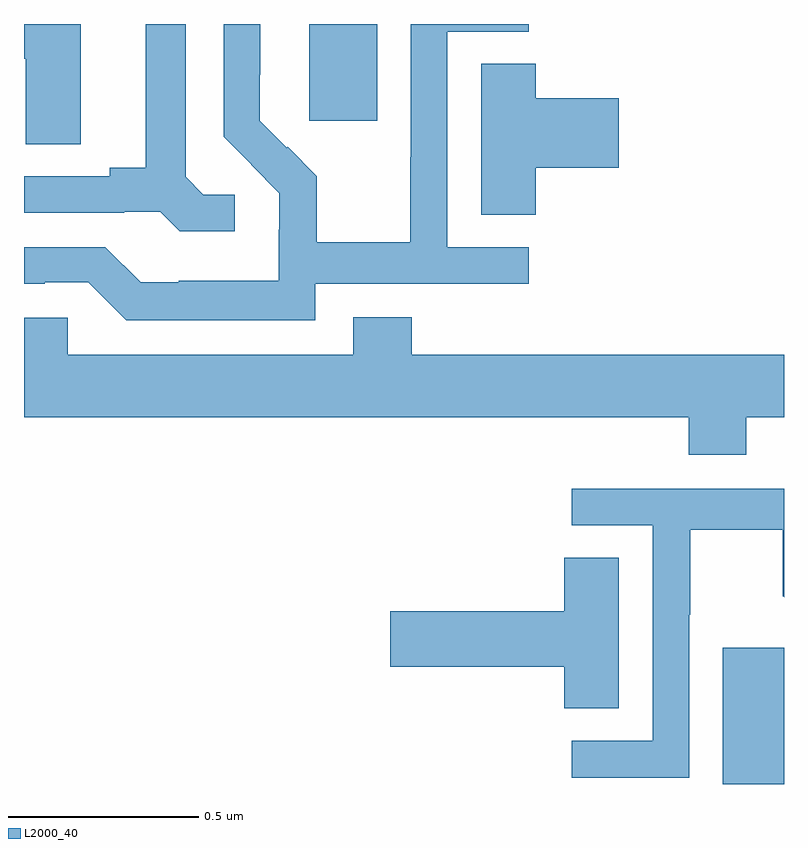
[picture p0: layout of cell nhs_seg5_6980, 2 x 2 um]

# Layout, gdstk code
import gdstk
lib = gdstk.Library(unit=1e-6, precision=1e-09)
def R(c, l, rs):  # rectangles x0, y0, x1, y1
    for r in rs: c.add(gdstk.rectangle(r[:2], r[2:], *l))
def P(c, l, *ps):  # polygons
    for p in ps: c.add(gdstk.Polygon(p, *l))
L2000_40 = (2000, 40)

nhs_seg5_6980 = lib.new_cell('nhs_seg5_6980')
R(nhs_seg5_6980, L2000_40, [(204.839,851.799,205,852.157), (203.75,853.545,203.929,853.799)])
P(nhs_seg5_6980, L2000_40, [(203.554,853.35),(203.472,853.35),(203.425,853.397),(203.425,853.799),(203.321,853.799),(203.321,853.421),(203.225,853.421),(203.225,853.398),(203,853.398),(203,853.302),(203.264,853.302),(203.264,853.305),(203.358,853.305),(203.41,853.253),(203.554,853.253)],
  [(203.766,853.116),(204.328,853.116),(204.328,853.212),(204.114,853.212),(204.114,853.779),(204.328,853.779),(204.328,853.799),(204.018,853.799),(204.018,853.448),(204.016,853.448),(204.016,853.225),(203.771,853.225),(203.771,853.399),(203.694,853.476),(203.691,853.473),(203.621,853.544),(203.621,853.666),(203.622,853.666),(203.622,853.799),(203.526,853.799),(203.526,853.502),(203.599,853.429),(203.598,853.428),(203.672,853.354),(203.672,853.257),(203.67,853.257),(203.67,853.123),(203.407,853.123),(203.407,853.119),(203.307,853.119),(203.214,853.212),(203,853.212),(203,853.116),(203.054,853.116),(203.054,853.119),(203.169,853.119),(203.269,853.019),(203.766,853.019)],
  [(203.149,853.799),(203,853.799),(203,853.707),(203.004,853.707),(203.004,853.483),(203.149,853.483)],
  [(204.347,853.421),(204.565,853.421),(204.565,853.604),(204.347,853.604),(204.347,853.694),(204.203,853.694),(204.203,853.297),(204.347,853.297)],
  [(204.901,852.764),(205,852.764),(205,852.928),(204.02,852.928),(204.02,853.027),(203.867,853.027),(203.867,852.928),(203.115,852.928),(203.115,853.026),(203,853.026),(203,852.764),(204.749,852.764),(204.749,852.665),(204.901,852.665)],
  [(204.75,852.244),(204.753,852.244),(204.753,852.468),(204.997,852.468),(204.997,852.293),(205,852.29),(205,852.576),(204.441,852.576),(204.441,852.48),(204.654,852.48),(204.654,851.913),(204.441,851.913),(204.441,851.815),(204.75,851.815)],
  [(204.565,852.395),(204.422,852.395),(204.422,852.254),(203.964,852.254),(203.964,852.107),(204.422,852.107),(204.422,851.998),(204.565,851.998)])

lib.write_gds('nhs_seg5_6980.gds')
